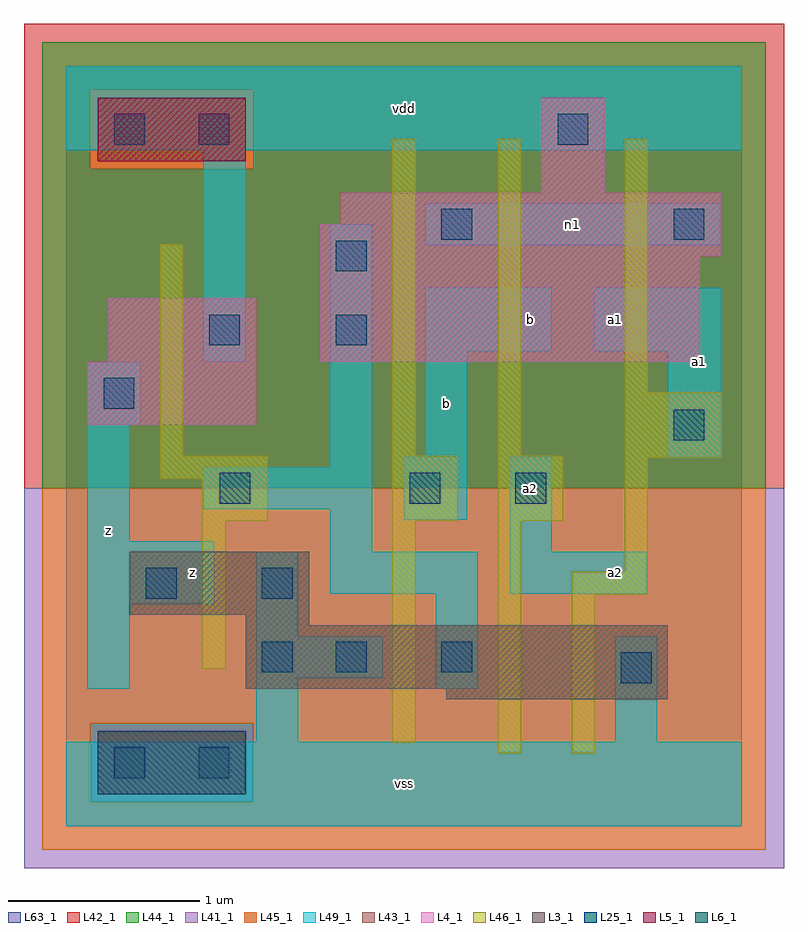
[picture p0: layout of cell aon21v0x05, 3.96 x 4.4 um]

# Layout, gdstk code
import gdstk
lib = gdstk.Library(unit=1e-6, precision=1e-09)
def R(c, l, rs):  # rectangles x0, y0, x1, y1
    for r in rs: c.add(gdstk.rectangle(r[:2], r[2:], *l))
L3_1 = (3, 1)
L4_1 = (4, 1)
L5_1 = (5, 1)
L6_1 = (6, 1)
L25_1 = (25, 1)
L41_1 = (41, 1)
L42_1 = (42, 1)
L43_1 = (43, 1)
L44_1 = (44, 1)
L45_1 = (45, 1)
L46_1 = (46, 1)
L49_1 = (49, 1)
L63_1 = (63, 1)

aon21v0x05 = lib.new_cell('aon21v0x05')
R(aon21v0x05, L3_1, [(1.98,0.66,3.135,0.715), (0.935,0.715,3.135,1.045), (0.935,1.045,1.265,1.1), (0.33,1.1,1.265,1.43)])
R(aon21v0x05, L4_1, [(0.11,2.09,0.99,2.42), (0.22,2.42,0.99,2.75), (1.32,2.42,3.3,2.97), (1.32,2.97,3.41,3.135), (1.43,3.135,3.41,3.3), (2.475,3.3,2.805,3.795)])
R(aon21v0x05, L5_1, [(0.165,3.465,0.935,3.795)])
R(aon21v0x05, L6_1, [(0.165,0.165,0.935,0.495)])
R(aon21v0x05, L25_1, [(0.25,0.25,0.41,0.41), (0.69,0.25,0.85,0.41), (2.89,0.745,3.05,0.905), (1.02,0.8,1.18,0.96), (1.405,0.8,1.565,0.96), (1.955,0.8,2.115,0.96), (0.415,1.185,0.575,1.345), (1.02,1.185,1.18,1.345), (0.8,1.68,0.96,1.84), (1.79,1.68,1.95,1.84), (2.34,1.68,2.5,1.84), (3.165,2.01,3.325,2.17), (0.195,2.175,0.355,2.335), (0.745,2.505,0.905,2.665), (1.405,2.505,1.565,2.665), (1.405,2.89,1.565,3.05), (1.955,3.055,2.115,3.215), (3.165,3.055,3.325,3.215), (0.25,3.55,0.41,3.71), (0.69,3.55,0.85,3.71), (2.56,3.55,2.72,3.71)])
R(aon21v0x05, L41_1, [(-0.22,-0.22,3.74,1.76)])
R(aon21v0x05, L42_1, [(-0.22,1.76,3.74,4.18)])
R(aon21v0x05, L43_1, [(0.165,0.165,0.935,0.495), (1.98,0.66,3.135,0.715), (0.935,0.715,3.135,1.045), (0.935,1.045,1.265,1.1), (0.33,1.1,1.265,1.43), (0.11,2.09,0.99,2.42), (0.22,2.42,0.99,2.75), (1.32,2.42,3.3,2.97), (1.32,2.97,3.41,3.135), (1.43,3.135,3.41,3.3), (2.475,3.3,2.805,3.795), (0.165,3.465,0.935,3.795)])
R(aon21v0x05, L44_1, [(0.125,0.125,0.975,0.535), (-0.125,1.76,3.645,3.425), (-0.125,3.425,0.125,3.835), (0.975,3.425,3.645,3.835), (-0.125,3.835,3.645,4.085)])
R(aon21v0x05, L45_1, [(-0.125,-0.125,3.645,0.125), (-0.125,0.125,0.125,0.535), (0.975,0.125,3.645,0.535), (-0.125,0.535,3.645,1.76), (0.125,3.425,0.975,3.835)])
R(aon21v0x05, L46_1, [(2.25,0.38,2.37,1.59), (2.635,0.38,2.755,1.205), (1.7,0.435,1.82,1.59), (0.71,0.82,0.83,1.59), (2.635,1.205,3.03,1.325), (2.91,1.325,3.03,1.92), (0.71,1.59,1.05,1.81), (1.7,1.59,2.04,1.93), (2.25,1.59,2.59,1.93), (0.49,1.81,1.05,1.93), (2.91,1.92,3.415,2.26), (0.49,1.93,0.61,3.03), (1.7,1.93,1.82,3.58), (2.25,1.93,2.37,3.58), (2.91,2.26,3.03,3.58)])
R(aon21v0x05, L49_1, [(0,0,3.52,0.44), (0.99,0.44,1.21,0.77), (2.86,0.44,3.08,0.99), (0.11,0.715,0.33,1.155), (1.925,0.715,2.145,1.21), (0.99,0.77,1.65,0.99), (0.99,0.99,1.21,1.43), (0.11,1.155,0.77,1.485), (1.375,1.21,2.145,1.43), (2.31,1.21,3.025,1.43), (1.375,1.43,1.595,1.65), (2.31,1.43,2.53,1.925), (0.11,1.485,0.33,2.09), (1.76,1.595,2.09,1.925), (0.715,1.65,1.595,1.87), (1.375,1.87,1.595,3.135), (1.87,1.925,2.09,2.475), (3.135,1.925,3.41,2.475), (0.11,2.09,0.385,2.42), (0.715,2.42,0.935,3.52), (1.87,2.475,2.53,2.805), (2.75,2.475,3.41,2.805), (1.87,3.025,3.41,3.245), (0,3.52,3.52,3.96)])
R(aon21v0x05, L63_1, [(0,0,3.52,3.96)])
aon21v0x05.add(gdstk.Label('z', (0.22,1.54), layer=49, texttype=1))
aon21v0x05.add(gdstk.Label('z', (0.66,1.32), layer=49, texttype=1))
aon21v0x05.add(gdstk.Label('vss', (1.76,0.22), layer=49, texttype=1))
aon21v0x05.add(gdstk.Label('a2', (2.42,1.76), layer=49, texttype=1))
aon21v0x05.add(gdstk.Label('b', (1.98,2.2), layer=49, texttype=1))
aon21v0x05.add(gdstk.Label('b', (2.42,2.64), layer=49, texttype=1))
aon21v0x05.add(gdstk.Label('vdd', (1.76,3.74), layer=49, texttype=1))
aon21v0x05.add(gdstk.Label('a2', (2.86,1.32), layer=49, texttype=1))
aon21v0x05.add(gdstk.Label('a1', (2.86,2.64), layer=49, texttype=1))
aon21v0x05.add(gdstk.Label('a1', (3.3,2.42), layer=49, texttype=1))
aon21v0x05.add(gdstk.Label('n1', (2.64,3.135), layer=49, texttype=1))

lib.write_gds('aon21v0x05.gds')
